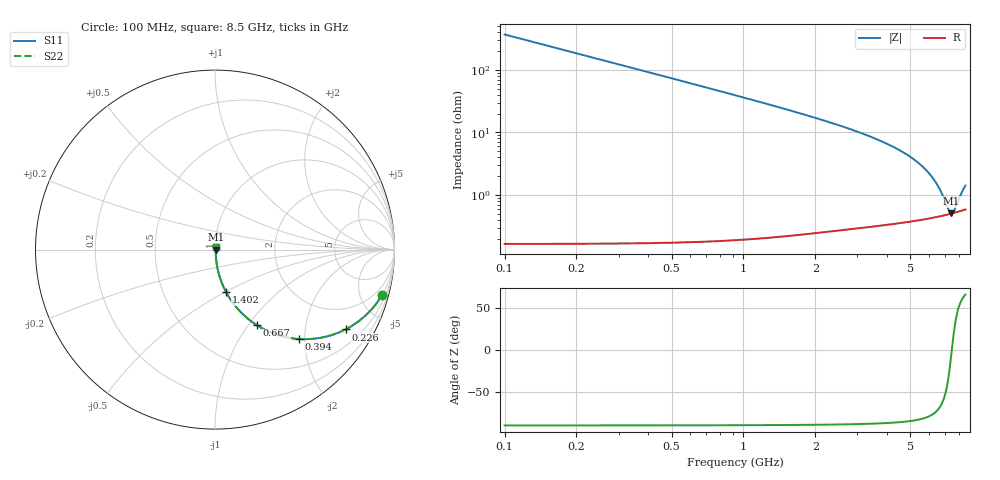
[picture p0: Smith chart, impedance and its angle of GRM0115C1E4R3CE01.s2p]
!Murata Part Number: GRM0115C1E4R3CE01
!These Parameters are Measured in Series Mode Connection
!Data Generated on Mar 30, 2021
!  o--ll--o
!Port1  Port2
!  o------o
!Operation Temp=25[degC], DC Bias Voltage=0[V]
!Freq. Start=100[MHz] Stop=9[GHz] 401[Steps]
# Hz S RI R 50
!Freq.(Hz) S11(Real) S11(Imag) S21(Real) S21(Imag) S12(Real) S12(Imag) S22(Real) S22(Imag)
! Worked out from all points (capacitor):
!   401 points, 100 MHz to 8.5 GHz, reference 50 ohm
!   read as one part in series: C = 4.3 pF near 142 MHz
!   lowest |Z| = 504 mohm at 7.429 GHz (marker M1)
!   series resonance near 7.457 GHz, so ESL is about 110 pH
!   S11 on the Smith chart (normalised r, x): 100 MHz: 1.00, -7.40; 226 MHz: 1.00, -3.27; 394 MHz: 1.00, -1.87; 667 MHz: 1.00, -1.10; 1.402 GHz: 1.00, -0.51; 8.5 GHz: 1.01, +0.03
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1e8  0.9318 -0.2518  0.0682 0.2518  0.0682 0.2518  0.9318 -0.2518
1.42e8  0.8715 -0.3344  0.1285 0.3344  0.1285 0.3344  0.8715 -0.3344
2.26e8  0.7278 -0.4446  0.2722 0.4446  0.2722 0.4446  0.7278 -0.4446
3.1e8  0.5867 -0.4917  0.4133 0.4917  0.4133 0.4917  0.5867 -0.4917
3.94e8  0.4673 -0.498  0.5327 0.498  0.5327 0.498  0.4673 -0.498
5.2e8  0.3343 -0.4705  0.6657 0.4705  0.6657 0.4705  0.3343 -0.4705
6.67e8  0.233 -0.4212  0.767 0.4212  0.767 0.4212  0.233 -0.4212
9.61e8  0.1264 -0.3298  0.8736 0.3298  0.8736 0.3298  0.1264 -0.3298
1.402e9  0.0624 -0.2377  0.9376 0.2377  0.9376 0.2377  0.0624 -0.2377
1.507e9  0.0542 -0.2217  0.9458 0.2217  0.9458 0.2217  0.0542 -0.2217
2.116e9  0.0273 -0.1554  0.9727 0.1554  0.9727 0.1554  0.0273 -0.1554
2.914e9  0.0141 -0.1052  0.9859 0.1052  0.9859 0.1052  0.0141 -0.1052
4.3e9  0.00664 -0.0565  0.9934 0.0565  0.9934 0.0565  0.00664 -0.0565
5.707e9  0.00473 -0.0264  0.9953 0.0264  0.9953 0.0264  0.00473 -0.0264
6.484e9  0.00462 -0.0137  0.9954 0.0137  0.9954 0.0137  0.00462 -0.0137
6.778e9  0.00468 -0.00931  0.9953 0.00931  0.9953 0.00931  0.00468 -0.00931
7.114e9  0.00482 -0.00458  0.9952 0.00458  0.9952 0.00458  0.00482 -0.00458
7.303e9  0.00492 -0.00203  0.9951 0.00203  0.9951 0.00203  0.00492 -0.00203
7.429e9  0.005 -0.000365  0.995 0.000365  0.995 0.000365  0.005 -0.000365
7.618e9  0.00513 0.00208  0.9949 -0.00208  0.9949 -0.00208  0.00513 0.00208
8.122e9  0.00557 0.00829  0.9944 -0.00829  0.9944 -0.00829  0.00557 0.00829
8.5e9  0.00597 0.0127  0.994 -0.0127  0.994 -0.0127  0.00597 0.0127
